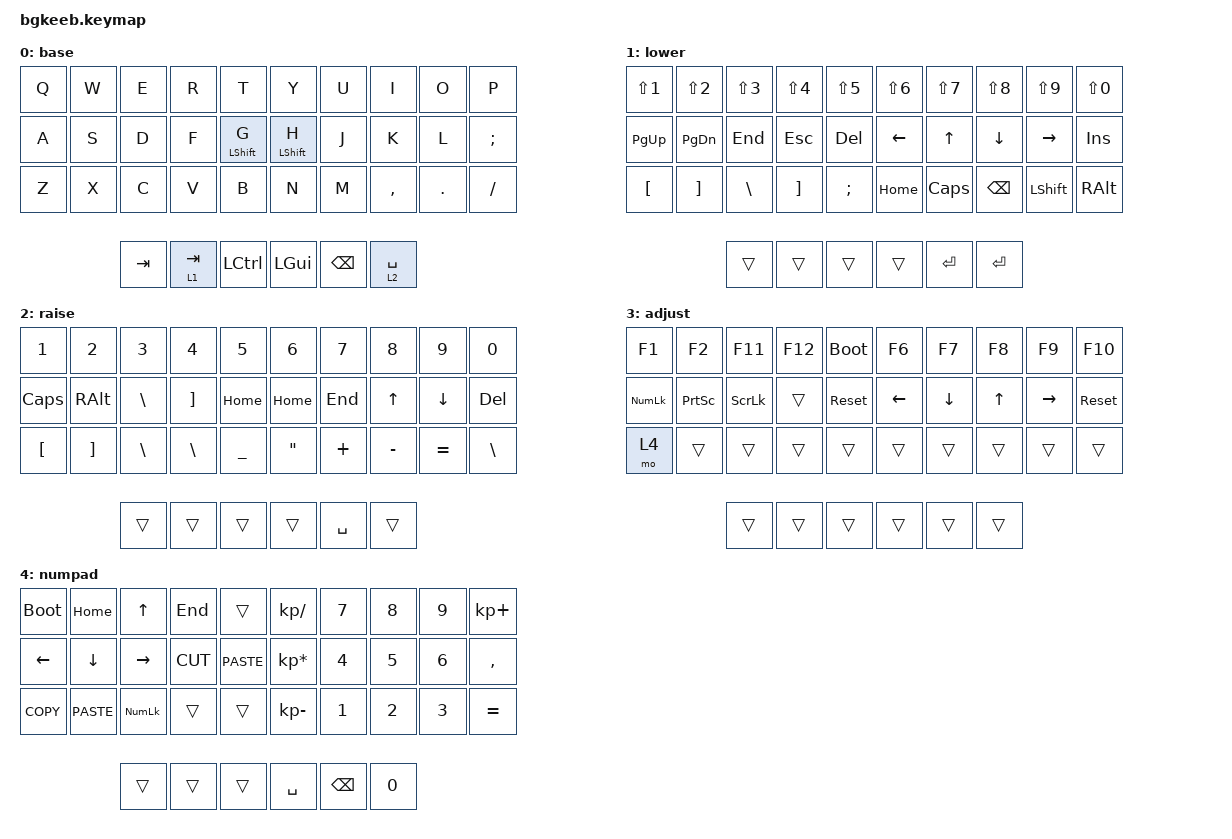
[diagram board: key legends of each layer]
#include <behaviors.dtsi>
#include <dt-bindings/zmk/keys.h>
#include <dt-bindings/zmk/bt.h>

/ {
        keymap {
                compatible = "zmk,keymap";

                base {
                        bindings = <
                                &kp Q &kp W &kp E &kp R &kp T
                                &kp Y &kp U &kp I &kp O &kp P
                                &kp A &kp S &kp D &kp F &mt LSHFT G
                                &mt LSHFT H &kp J &kp K &kp L &kp SEMI
                                &kp Z &kp X &kp C &kp V &kp B
                                &kp N &kp M &kp COMMA &kp PERIOD &kp SLASH
                                &kp TAB &lt 1 TAB &kp LCTL
                                &kp LGUI &kp BSPC &lt 2 SPACE
                        >;
                };

                lower {
                        bindings = <
                                &kp LS(N1) &kp LS(N2) &kp LS(N3) &kp LS(N4) &kp LS(N5)
                                &kp LS(N6) &kp LS(N7) &kp LS(N8) &kp LS(N9) &kp LS(N0)
                                &kp PG_UP &kp PG_DN &kp END &kp ESC &kp DEL
                                &kp LEFT &kp UP &kp DOWN &kp RIGHT &kp INS
                                &kp LBKT &kp RBKT &kp BSLH &kp RBKT &kp SEMI
                                &kp HOME &kp CAPS &kp BSPC &kp LSHFT &kp RALT
                                &trans &trans &trans
                                &trans &kp ENTER &kp ENTER
                        >;
                };

                raise {
                        bindings = <
                                &kp N1 &kp N2 &kp N3 &kp N4 &kp N5
                                &kp N6 &kp N7 &kp N8 &kp N9 &kp N0
                                &kp CAPS &kp RALT &kp BSLH &kp RBKT &kp HOME
                                &kp HOME &kp END &kp UP &kp DOWN &kp DEL
                                &kp LBKT &kp RBKT &kp BSLH &kp BSLH &kp UNDER
                                &kp DQT &kp PLUS &kp MINUS &kp EQUAL &kp BSLH
                                &trans &trans &trans
                                &trans &kp SPACE &trans
                        >;
                };

                adjust {
                        bindings = <
                                &kp F1 &kp F2 &kp F11 &kp F12 &bootloader
                                &kp F6 &kp F7 &kp F8 &kp F9 &kp F10
                                &kp KP_NUM &kp PSCRN &kp SLCK &trans &sys_reset
                                &kp LEFT &kp DOWN &kp UP &kp RIGHT &sys_reset
                                &mo 4 &trans &trans &trans &trans
                                &trans &trans &trans &trans &trans
                                &trans &trans &trans
                                &trans &trans &trans
                        >;
                };

                numpad {
                        bindings = <
                                &bootloader &kp HOME &kp UP &kp END &trans
                                &kp KP_DIVIDE &kp N7 &kp N8 &kp N9 &kp KP_PLUS
                                &kp LEFT &kp DOWN &kp RIGHT &kp K_CUT &kp K_PASTE
                                &kp KP_MULTIPLY &kp N4 &kp N5 &kp N6 &kp COMMA
                                &kp K_COPY &kp K_PASTE &kp KP_NUM &trans &trans
                                &kp KP_MINUS &kp N1 &kp N2 &kp N3 &kp EQUAL
                                &trans &trans &trans
                                &kp SPACE &kp BSPC &kp N0
                        >;
                };

                combos {
                        compatible = "zmk,combos";
                        studio_unlock {
                                timeout-ms = <80>;
                                bindings = <&studio_unlock>;
                                key-positions = <0 0 0 1 0 2 0 3>;
                        };
                };
        };
};
